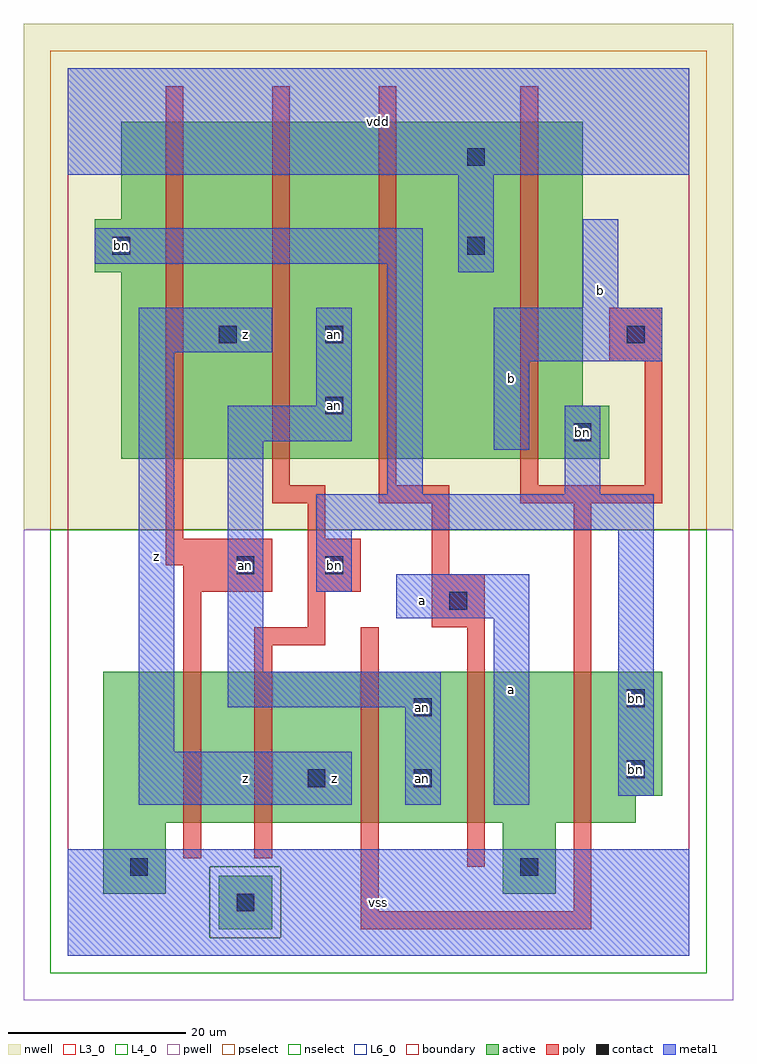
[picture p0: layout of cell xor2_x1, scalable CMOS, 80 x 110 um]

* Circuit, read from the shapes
.subckt xor2_x1 a an b bn vdd vss z
M1 n1 an vss vss nfet w=17u l=2u
M2 z bn n1 vss nfet w=17u l=2u
M3 an b z vss nfet w=17u l=2u
M4 vss a an vss nfet w=17u l=2u
M5 bn b vss vss nfet w=17u l=2u
M6 z an bn n2 pfet w=38u l=2u
M7 an bn z n2 pfet w=38u l=2u
M8 vdd a an n2 pfet w=38u l=2u
M9 bn b vdd n2 pfet w=38u l=2u
.ends

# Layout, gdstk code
import gdstk
lib = gdstk.Library(unit=1e-6, precision=1e-09)
def R(c, l, rs):  # rectangles x0, y0, x1, y1
    for r in rs: c.add(gdstk.rectangle(r[:2], r[2:], *l))
L3_0 = (3, 0)
L4_0 = (4, 0)
L6_0 = (6, 0)
contact = (25, 0)
pwell = (41, 0)
nwell = (42, 0)
active = (43, 0)
pselect = (44, 0)
nselect = (45, 0)
poly = (46, 0)
metal1 = (49, 0)
boundary = (63, 0)

xor2_x1 = lib.new_cell('xor2_x1')
R(xor2_x1, L3_0, [(4,7,11,15), (49,7,55,15), (4,15,64,18), (4,18,67,32)])
R(xor2_x1, L4_0, [(6,56,61,62), (6,62,58,77), (3,77,58,83), (6,83,58,94)])
R(xor2_x1, L6_0, [(17,3,23,9)])
R(xor2_x1, contact, [(19,5,21,7), (7,9,9,11), (51,9,53,11), (27,19,29,21), (39,19,41,21), (63,20,65,22), (39,27,41,29), (63,28,65,30), (43,39,45,41), (19,43,21,45), (29,43,31,45), (57,58,59,60), (29,61,31,63), (17,69,19,71), (29,69,31,71), (63,69,65,71), (5,79,7,81), (45,79,47,81), (45,89,47,91)])
R(xor2_x1, pwell, [(-5,-5,75,48)])
R(xor2_x1, nwell, [(-5,48,75,105)])
R(xor2_x1, active, [(17,3,23,9), (4,7,11,15), (49,7,55,15), (4,15,64,18), (4,18,67,32), (6,56,61,62), (6,62,58,77), (3,77,58,83), (6,83,58,94)])
R(xor2_x1, pselect, [(16,2,24,10), (-2,48,72,102)])
R(xor2_x1, nselect, [(-2,-2,72,2), (-2,2,16,10), (24,2,72,10), (-2,10,72,48)])
R(xor2_x1, poly, [(33,3,59,5), (33,5,35,37), (57,5,59,51), (45,10,47,37), (13,11,15,41), (21,11,23,35), (21,35,29,37), (27,37,29,41), (41,37,47,43), (13,41,23,44), (27,41,33,47), (41,43,43,51), (11,44,23,47), (11,47,13,98), (27,47,29,51), (23,51,29,53), (35,51,43,53), (51,51,67,53), (23,53,25,98), (35,53,37,98), (51,53,53,98), (65,53,67,67), (61,67,67,73)])
R(xor2_x1, metal1, [(0,0,70,12), (8,17,32,23), (38,17,42,28), (48,17,52,38), (62,18,66,48), (8,23,12,68), (18,28,42,32), (18,32,22,58), (37,38,52,43), (28,41,32,48), (28,48,66,52), (36,52,40,78), (56,52,60,62), (48,57,52,67), (18,58,32,62), (28,62,32,73), (48,67,67,73), (8,68,23,73), (58,73,62,83), (44,77,48,88), (3,78,40,82), (0,88,70,100)])
R(xor2_x1, boundary, [(0,0,70,100)])
xor2_x1.add(gdstk.Label('an', (20,44), layer=49, texttype=0))
xor2_x1.add(gdstk.Label('bn', (6,80), layer=49, texttype=0))
xor2_x1.add(gdstk.Label('an', (40,20), layer=49, texttype=0))
xor2_x1.add(gdstk.Label('an', (40,28), layer=49, texttype=0))
xor2_x1.add(gdstk.Label('bn', (30,44), layer=49, texttype=0))
xor2_x1.add(gdstk.Label('an', (30,62), layer=49, texttype=0))
xor2_x1.add(gdstk.Label('an', (30,70), layer=49, texttype=0))
xor2_x1.add(gdstk.Label('bn', (64,29), layer=49, texttype=0))
xor2_x1.add(gdstk.Label('bn', (64,21), layer=49, texttype=0))
xor2_x1.add(gdstk.Label('bn', (58,59), layer=49, texttype=0))
xor2_x1.add(gdstk.Label('z', (10,45), layer=49, texttype=0))
xor2_x1.add(gdstk.Label('z', (20,20), layer=49, texttype=0))
xor2_x1.add(gdstk.Label('z', (30,20), layer=49, texttype=0))
xor2_x1.add(gdstk.Label('z', (20,70), layer=49, texttype=0))
xor2_x1.add(gdstk.Label('vss', (35,6), layer=49, texttype=0))
xor2_x1.add(gdstk.Label('a', (50,30), layer=49, texttype=0))
xor2_x1.add(gdstk.Label('a', (40,40), layer=49, texttype=0))
xor2_x1.add(gdstk.Label('b', (50,65), layer=49, texttype=0))
xor2_x1.add(gdstk.Label('vdd', (35,94), layer=49, texttype=0))
xor2_x1.add(gdstk.Label('b', (60,75), layer=49, texttype=0))

lib.write_gds('xor2_x1.gds')
